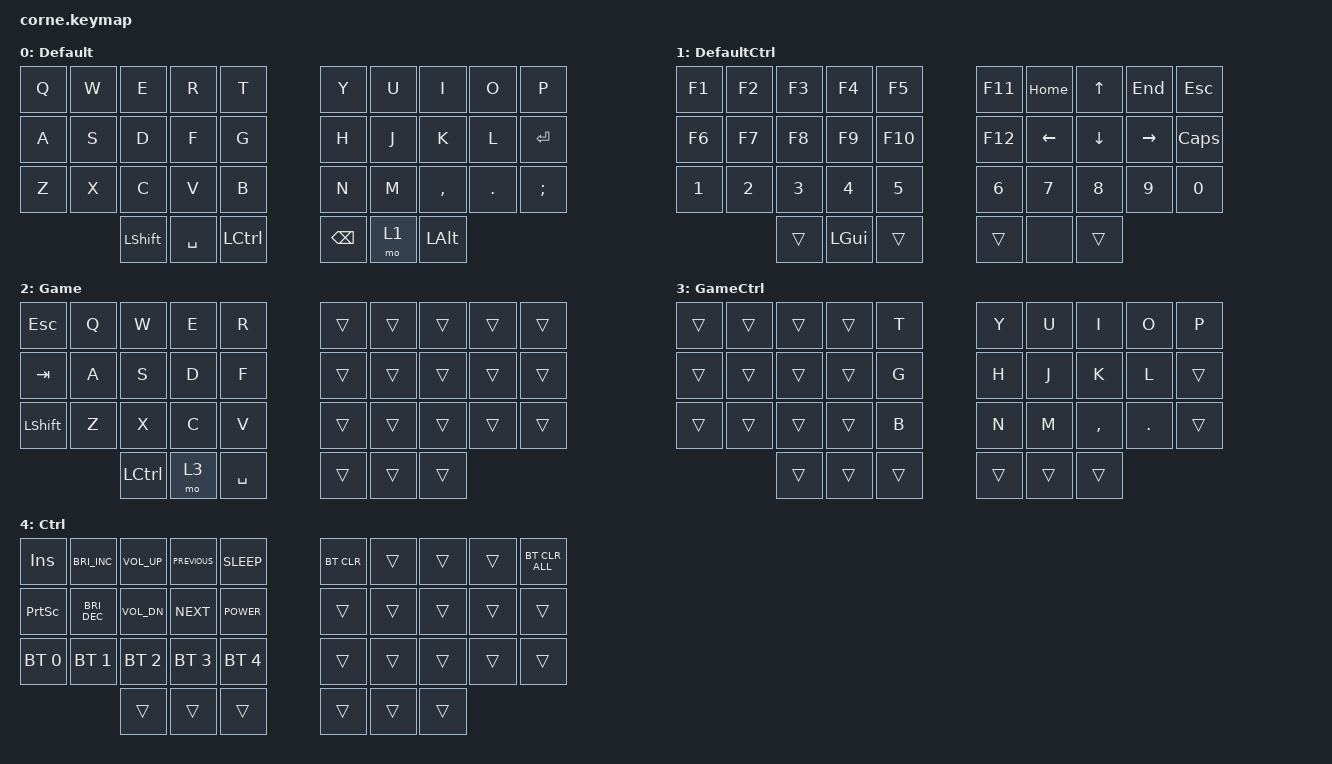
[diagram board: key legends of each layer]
/*
 * Copyright (c) 2020 The ZMK Contributors
 *
 * SPDX-License-Identifier: MIT
 */

#include <dt-bindings/zmk/mouse.h>
#include <behaviors.dtsi>
#include <dt-bindings/zmk/bt.h>
#include <dt-bindings/zmk/keys.h>

#define DEFAULT 0
#define SYM     1
#define NAV     2
#define NUM     3
#define WIN     4
#define MSE     5

/ {
    combos {
        compatible = "zmk,combos";

        s1 {
            bindings = <&kp LEFT_PARENTHESIS>;
            key-positions = <3 13>;
            timeout-ms = <20>;
        };

        s2 {
            bindings = <&kp RIGHT_PARENTHESIS>;
            key-positions = <6 16>;
            timeout-ms = <20>;
        };

        s3 {
            bindings = <&kp LEFT_BRACKET>;
            key-positions = <12 2>;
            timeout-ms = <20>;
        };

        s4 {
            bindings = <&kp RIGHT_BRACKET>;
            key-positions = <17 7>;
            timeout-ms = <20>;
        };

        s5 {
            bindings = <&kp LESS_THAN>;
            key-positions = <11 1>;
            timeout-ms = <20>;
        };

        s6 {
            bindings = <&kp GREATER_THAN>;
            key-positions = <18 8>;
            timeout-ms = <20>;
        };

        s7 {
            bindings = <&kp LEFT_BRACE>;
            key-positions = <14 4>;
            timeout-ms = <20>;
        };

        s8 {
            bindings = <&kp RIGHT_BRACE>;
            key-positions = <15 5>;
            timeout-ms = <20>;
        };

        s9 {
            bindings = <&kp SQT>;
            key-positions = <24 14>;
            timeout-ms = <20>;
        };

        s10 {
            bindings = <&kp DOUBLE_QUOTES>;
            key-positions = <25 15>;
            timeout-ms = <20>;
        };

        s11 {
            bindings = <&kp PLUS>;
            key-positions = <23 13>;
            timeout-ms = <20>;
        };

        s12 {
            bindings = <&kp MINUS>;
            key-positions = <26 16>;
            timeout-ms = <20>;
        };

        s13 {
            bindings = <&kp ASTERISK>;
            key-positions = <22 12>;
            timeout-ms = <20>;
        };

        s14 {
            bindings = <&kp PERCENT>;
            key-positions = <27 17>;
            timeout-ms = <20>;
        };

        s15 {
            bindings = <&kp NON_US_BACKSLASH>;
            key-positions = <21 11>;
        };

        s16 {
            bindings = <&kp SLASH>;
            key-positions = <28 18>;
            timeout-ms = <20>;
        };

        Tab {
            bindings = <&kp TAB>;
            key-positions = <22 23>;
            timeout-ms = <20>;
        };

        Enter {
            bindings = <&kp ENTER>;
            key-positions = <27 26>;
            timeout-ms = <20>;
        };

        s17 {
            bindings = <&kp LCTRL>;
            key-positions = <2 1>;
        };

        s18 {
            bindings = <&kp HASH>;
            key-positions = <12 11>;
            timeout-ms = <20>;
        };

        s19 {
            bindings = <&kp DOLLAR>;
            key-positions = <22 21>;
            timeout-ms = <20>;
        };

        s20 {
            bindings = <&kp AMPERSAND>;
            key-positions = <8 7>;
        };

        s21 {
            bindings = <&kp EXCLAMATION>;
            key-positions = <18 17>;
            timeout-ms = <20>;
        };

        s22 {
            bindings = <&kp AT_SIGN>;
            key-positions = <27 28>;
            timeout-ms = <20>;
        };

        s23 {
            bindings = <&kp LEFT_WIN>;
            key-positions = <7 6>;
        };

        Esc {
            bindings = <&kp ESCAPE>;
            key-positions = <3 2>;
            timeout-ms = <20>;
        };

        s25 {
            bindings = <&kp EQUAL>;
            key-positions = <17 16>;
            timeout-ms = <20>;
        };

        DtoG {
            bindings = <&to 2>;
            key-positions = <3 1 2>;
            layers = <0>;
            timeout-ms = <20>;
        };

        GtoD {
            bindings = <&to 0>;
            key-positions = <3 2 1>;
            timeout-ms = <20>;
            layers = <2>;
        };

        Ctrl {
            bindings = <&mo 4>;
            key-positions = <8 7 6>;
        };
    };
};


/ {
    keymap {
        compatible = "zmk,keymap";

        Default {
            bindings = <
  &kp Q  &kp W  &kp E      &kp R      &kp T        &kp Y     &kp U  &kp I      &kp O    &kp P
  &kp A  &kp S  &kp D      &kp F      &kp G        &kp H     &kp J  &kp K      &kp L    &kp RET
  &kp Z  &kp X  &kp C      &kp V      &kp B        &kp N     &kp M  &kp COMMA  &kp DOT  &kp SEMI
                &kp LSHFT  &kp SPACE  &kp LCTRL    &kp BSPC  &mo 1  &kp LALT
            >;
        };

        DefaultCtrl {
            bindings = <
  &kp F1  &kp F2  &kp F3  &kp F4    &kp F5     &kp F11  &kp HOME  &kp UP    &kp END    &kp ESC
  &kp F6  &kp F7  &kp F8  &kp F9    &kp F10    &kp F12  &kp LEFT  &kp DOWN  &kp RIGHT  &kp CAPS
  &kp N1  &kp N2  &kp N3  &kp N4    &kp N5     &kp N6   &kp N7    &kp N8    &kp N9     &kp N0
                  &trans  &kp LGUI  &trans     &trans   &none     &trans
            >;
        };

        Game {
            bindings = <
  &kp ESC    &kp Q  &kp W      &kp E  &kp R        &trans  &trans  &trans  &trans  &trans
  &kp TAB    &kp A  &kp S      &kp D  &kp F        &trans  &trans  &trans  &trans  &trans
  &kp LSHFT  &kp Z  &kp X      &kp C  &kp V        &trans  &trans  &trans  &trans  &trans
                    &kp LCTRL  &mo 3  &kp SPACE    &trans  &trans  &trans
            >;
        };

        GameCtrl {
            bindings = <
  &trans  &trans  &trans  &trans  &kp T     &kp Y   &kp U   &kp I      &kp O    &kp P
  &trans  &trans  &trans  &trans  &kp G     &kp H   &kp J   &kp K      &kp L    &trans
  &trans  &trans  &trans  &trans  &kp B     &kp N   &kp M   &kp COMMA  &kp DOT  &trans
                  &trans  &trans  &trans    &trans  &trans  &trans
            >;
        };

        Ctrl {
            bindings = <
  &kp INS       &kp C_BRIGHTNESS_INC  &kp C_VOLUME_UP  &kp C_PREVIOUS  &kp C_SLEEP     &bt BT_CLR  &trans  &trans  &trans  &bt BT_CLR_ALL
  &kp PSCRN     &kp C_BRIGHTNESS_DEC  &kp C_VOL_DN     &kp C_NEXT      &kp C_POWER     &trans      &trans  &trans  &trans  &trans
  &bt BT_SEL 0  &bt BT_SEL 1          &bt BT_SEL 2     &bt BT_SEL 3    &bt BT_SEL 4    &trans      &trans  &trans  &trans  &trans
                                      &trans           &trans          &trans          &trans      &trans  &trans
            >;
        };
    };
};
